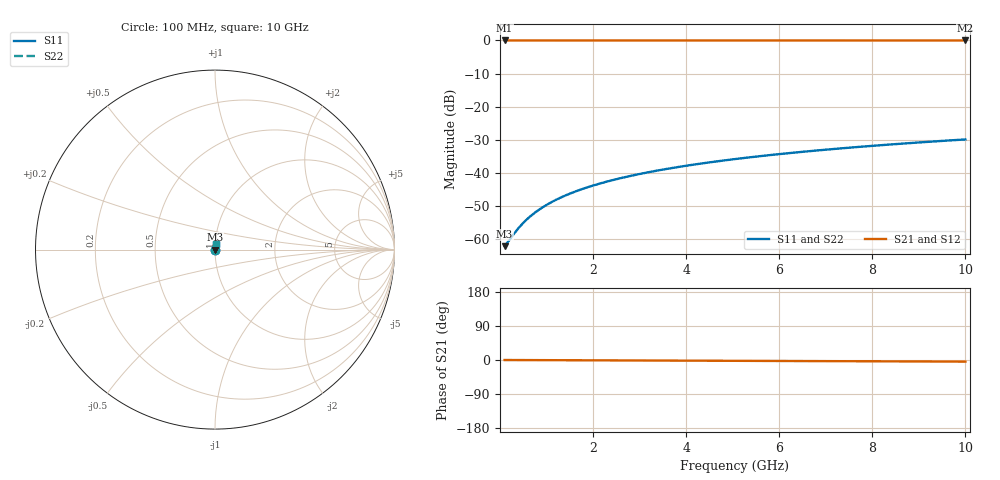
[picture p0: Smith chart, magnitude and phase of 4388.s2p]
# Hz S RI R 50.00
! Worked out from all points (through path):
!   100 points, 100 MHz to 10 GHz, reference 50 ohm
!   highest |S21| = -0.01 dB at 100 MHz (marker M1); lowest = 0.0 dB at 10 GHz (marker M2)
!   lowest |S11| = -62.1 dB at 100 MHz (marker M3), VSWR 1.00, Z = 50.1 + j0.032 ohm
!   |S11| at or under -10 dB: start of sweep to end of sweep
!   |S22| runs from -62.1 to -29.9 dB; largest |S21 - S12| = 0
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1e8  0.000715 0.000319  0.9993 -0.000745  0.9993 -0.000745  0.000715 0.000319
2e8  0.00072 0.000638  0.9993 -0.00149  0.9993 -0.00149  0.00072 0.000638
3e8  0.000724 0.000958  0.9993 -0.00224  0.9993 -0.00224  0.000724 0.000958
4e8  0.000729 0.00128  0.9993 -0.00298  0.9993 -0.00298  0.000729 0.00128
5e8  0.000733 0.0016  0.9993 -0.00373  0.9993 -0.00373  0.000733 0.0016
6e8  0.000738 0.00192  0.9993 -0.00447  0.9993 -0.00447  0.000738 0.00192
7e8  0.000743 0.00223  0.9992 -0.00522  0.9992 -0.00522  0.000743 0.00223
8e8  0.000748 0.00255  0.9992 -0.00596  0.9992 -0.00596  0.000748 0.00255
1e9  0.000759 0.00319  0.9992 -0.00745  0.9992 -0.00745  0.000759 0.00319
1.2e9  0.000772 0.00383  0.9992 -0.00895  0.9992 -0.00895  0.000772 0.00383
1.5e9  0.000795 0.00479  0.9992 -0.0112  0.9992 -0.0112  0.000795 0.00479
1.8e9  0.000821 0.00574  0.9991 -0.0134  0.9991 -0.0134  0.000821 0.00574
2.1e9  0.000852 0.0067  0.9991 -0.0157  0.9991 -0.0157  0.000852 0.0067
2.5e9  0.000899 0.00798  0.999 -0.0186  0.999 -0.0186  0.000899 0.00798
2.9e9  0.000953 0.00925  0.999 -0.0216  0.999 -0.0216  0.000953 0.00925
3.4e9  0.00103 0.0108  0.9988 -0.0254  0.9988 -0.0254  0.00103 0.0108
4.2e9  0.00118 0.0134  0.9986 -0.0313  0.9986 -0.0313  0.00118 0.0134
5.1e9  0.00139 0.0163  0.9984 -0.038  0.9984 -0.038  0.00139 0.0163
5.9e9  0.0016 0.0188  0.9981 -0.044  0.9981 -0.044  0.0016 0.0188
6.7e9  0.00185 0.0214  0.9977 -0.05  0.9977 -0.05  0.00185 0.0214
8.4e9  0.00247 0.0268  0.9969 -0.0627  0.9969 -0.0627  0.00247 0.0268
1e10  0.00318 0.0318  0.9959 -0.0746  0.9959 -0.0746  0.00318 0.0318
